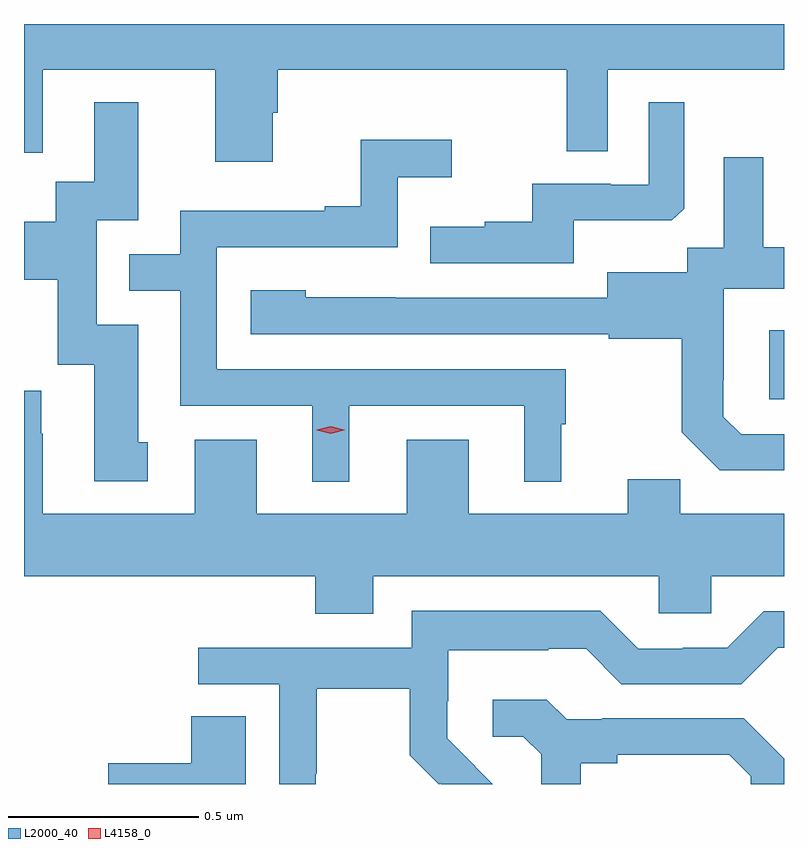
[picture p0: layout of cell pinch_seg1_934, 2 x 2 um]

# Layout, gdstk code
import gdstk
lib = gdstk.Library(unit=1e-6, precision=1e-09)
def R(c, l, rs):  # rectangles x0, y0, x1, y1
    for r in rs: c.add(gdstk.rectangle(r[:2], r[2:], *l))
def P(c, l, *ps):  # polygons
    for p in ps: c.add(gdstk.Polygon(p, *l))
L2000_40 = (2000, 40)
L4158_0 = (4158, 0)

pinch_seg1_934 = lib.new_cell('pinch_seg1_934')
R(pinch_seg1_934, L2000_40, [(593.555,541.542,593.594,541.723)])
P(pinch_seg1_934, L2000_40, [(592.249,542.295),(592.262,542.295),(592.262,542.408),(593.022,542.408),(593.022,542.194),(593.13,542.194),(593.13,542.408),(593.594,542.408),(593.594,542.529),(591.594,542.529),(591.594,542.19),(591.643,542.19),(591.643,542.408),(592.097,542.408),(592.097,542.166),(592.249,542.166)],
  [(591.919,541.428),(591.895,541.428),(591.895,541.737),(591.786,541.737),(591.786,542.013),(591.895,542.013),(591.895,542.323),(591.779,542.323),(591.779,542.114),(591.678,542.114),(591.678,542.008),(591.594,542.008),(591.594,541.856),(591.683,541.856),(591.683,541.632),(591.779,541.632),(591.779,541.326),(591.919,541.326)],
  [(593.041,542.012),(593.299,542.012),(593.331,542.043),(593.331,542.323),(593.238,542.323),(593.238,542.106),(593.138,542.106),(593.138,542.109),(592.931,542.109),(592.931,542.008),(592.807,542.008),(592.807,541.996),(592.663,541.996),(592.663,541.899),(593.041,541.899)],
  [(592.45,541.524),(592.91,541.524),(592.91,541.325),(593.008,541.325),(593.008,541.476),(593.02,541.476),(593.02,541.62),(592.101,541.62),(592.101,541.941),(592.578,541.941),(592.578,542.126),(592.72,542.126),(592.72,542.225),(592.48,542.225),(592.48,542.05),(592.385,542.05),(592.385,542.037),(592.005,542.037),(592.005,541.923),(591.871,541.923),(591.871,541.827),(592.005,541.827),(592.005,541.524),(592.352,541.524),(592.352,541.325),(592.45,541.325)],
  [(593.594,541.449),(593.481,541.449),(593.434,541.496),(593.434,541.591),(593.436,541.591),(593.436,541.832),(593.594,541.832),(593.594,541.942),(593.539,541.942),(593.539,542.179),(593.435,542.179),(593.435,541.94),(593.34,541.94),(593.34,541.876),(593.129,541.876),(593.129,541.809),(592.571,541.809),(592.571,541.81),(592.335,541.81),(592.335,541.828),(592.191,541.828),(592.191,541.713),(593.133,541.713),(593.133,541.701),(593.325,541.701),(593.325,541.455),(593.425,541.355),(593.594,541.355)],
  [(592.513,541.076),(593.265,541.076),(593.265,540.978),(593.403,540.978),(593.403,541.076),(593.594,541.076),(593.594,541.24),(593.321,541.24),(593.321,541.331),(593.183,541.331),(593.183,541.24),(592.765,541.24),(592.765,541.435),(592.601,541.435),(592.601,541.24),(592.207,541.24),(592.207,541.435),(592.043,541.435),(592.043,541.24),(591.643,541.24),(591.643,541.451),(591.64,541.451),(591.64,541.564),(591.594,541.564),(591.594,541.076),(592.361,541.076),(592.361,540.977),(592.513,540.977)],
  [(592.362,540.556),(592.365,540.556),(592.365,540.78),(592.609,540.78),(592.609,540.605),(592.685,540.529),(592.687,540.529),(592.689,540.531),(592.691,540.529),(592.827,540.529),(592.781,540.575),(592.782,540.576),(592.708,540.65),(592.708,540.747),(592.71,540.747),(592.71,540.881),(592.973,540.881),(592.973,540.885),(593.073,540.885),(593.166,540.792),(593.481,540.792),(593.577,540.888),(593.594,540.888),(593.594,540.984),(593.541,540.984),(593.445,540.888),(593.327,540.888),(593.327,540.885),(593.211,540.885),(593.111,540.985),(592.614,540.985),(592.614,540.888),(592.053,540.888),(592.053,540.792),(592.266,540.792),(592.266,540.529),(592.362,540.529)],
  [(593.059,540.584),(593.155,540.584),(593.155,540.606),(593.45,540.606),(593.507,540.549),(593.507,540.529),(593.594,540.529),(593.594,540.596),(593.488,540.702),(593.116,540.702),(593.116,540.699),(593.022,540.699),(592.97,540.751),(592.827,540.751),(592.827,540.654),(592.908,540.654),(592.955,540.607),(592.955,540.529),(593.059,540.529)],
  [(592.177,540.707),(592.034,540.707),(592.034,540.584),(591.816,540.584),(591.816,540.529),(592.177,540.529)])
P(pinch_seg1_934, L4158_0, [(592.401,541.451),(592.365,541.46),(592.365,541.461),(592.365,541.461),(592.401,541.471),(592.437,541.461),(592.437,541.461),(592.437,541.46)])

lib.write_gds('pinch_seg1_934.gds')
